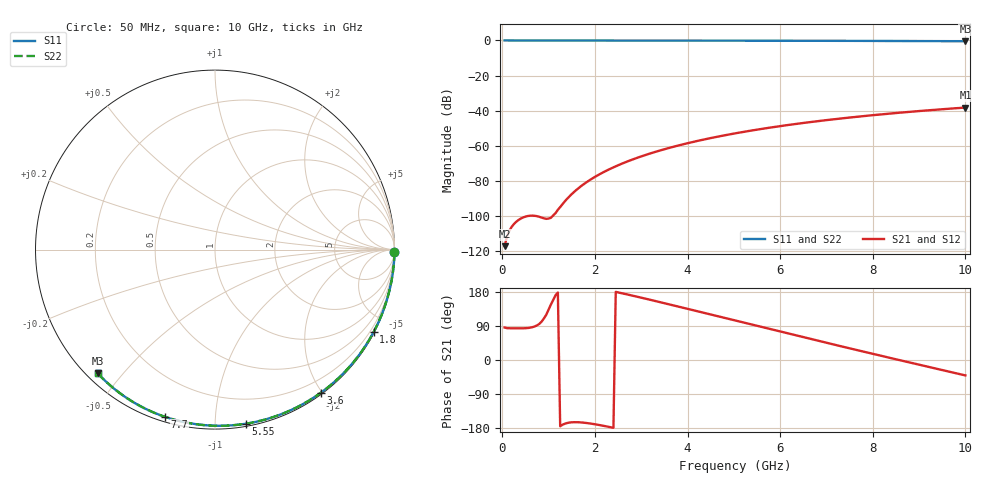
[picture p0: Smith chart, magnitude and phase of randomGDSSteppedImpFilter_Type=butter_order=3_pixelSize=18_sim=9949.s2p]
! freq	dB(S11)	phase(S11)	dB(S12)	phase(S12)
!  dB(S21)	phase(S21)	dB(S22)	phase(S22)
!S-par simulation data
#  GHz  S  DB  R 50
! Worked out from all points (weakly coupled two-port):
!   200 points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, 50 MHz to 10 GHz, reference 50 ohm
!   highest |S21| = -38.24 dB at 10 GHz (marker M1); lowest = -117.2 dB at 50 MHz (marker M2)
!   lowest |S11| = -0.4 dB at 10 GHz (marker M3), VSWR 38.91, Z = 1.52 - j21.5 ohm
!   |S11| at or under -10 dB: nowhere
!   |S22| runs from -0.4 to 0.0 dB; largest |S21 - S12| = 0
!   S11 on the Smith chart (normalised r, x): 50 MHz: open; 1.8 GHz: 0.04, -4.11; 3.6 GHz: 0.02, -1.99; 5.55 GHz: 0.02, -1.20; 7.7 GHz: 0.02, -0.75; 10 GHz: 0.03, -0.43
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0.05  -0.00 -0.8  -117.24 85.7  -117.24 85.7  -0.00 -0.8
0.45  -0.01 -6.9  -100.86 83.6  -100.86 83.6  -0.01 -6.9
0.9  -0.02 -13.8  -101.38 109.9  -101.38 109.9  -0.02 -13.8
1.75  -0.03 -26.6  -82.07 -165.3  -82.07 -165.3  -0.03 -26.6
1.8  -0.03 -27.4  -81.13 -165.9  -81.13 -165.9  -0.03 -27.4
1.85  -0.04 -28.1  -80.24 -166.7  -80.24 -166.7  -0.04 -28.1
2.25  -0.04 -34.0  -74.19 -175.2  -74.19 -175.2  -0.04 -34.0
2.45  -0.05 -37.0  -71.71 179.7  -71.71 179.7  -0.05 -37.0
2.65  -0.05 -39.9  -69.49 174.4  -69.49 174.4  -0.05 -39.9
3  -0.06 -44.9  -66.08 164.5  -66.08 164.5  -0.06 -44.9
3.4  -0.07 -50.6  -62.75 152.9  -62.75 152.9  -0.07 -50.6
3.6  -0.07 -53.5  -61.26 146.9  -61.26 146.9  -0.07 -53.5
3.9  -0.08 -57.7  -59.21 138.0  -59.21 138.0  -0.08 -57.7
4.3  -0.09 -63.2  -56.76 126.0  -56.76 126.0  -0.09 -63.2
5.05  -0.11 -73.3  -52.84 103.5  -52.84 103.5  -0.11 -73.3
5.55  -0.13 -79.8  -50.62 88.5  -50.62 88.5  -0.13 -79.8
6.1  -0.15 -86.9  -48.45 72.0  -48.45 72.0  -0.15 -86.9
6.7  -0.18 -94.4  -46.36 54.3  -46.36 54.3  -0.18 -94.4
7.7  -0.24 -106.6  -43.38 25.0  -43.38 25.0  -0.24 -106.6
8.35  -0.29 -114.3  -41.72 6.2  -41.72 6.2  -0.29 -114.3
9.15  -0.36 -123.6  -39.91 -16.6  -39.91 -16.6  -0.36 -123.6
10  -0.45 -133.4  -38.24 -40.7  -38.24 -40.7  -0.45 -133.4
